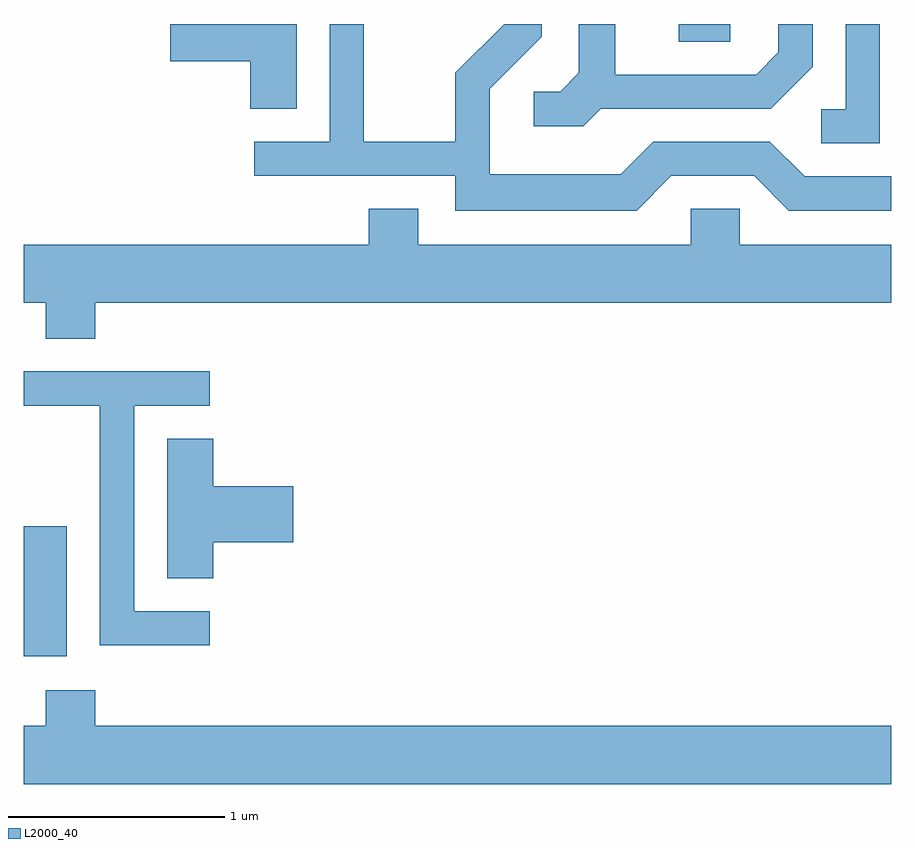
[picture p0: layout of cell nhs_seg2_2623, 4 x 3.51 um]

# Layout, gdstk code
import gdstk
lib = gdstk.Library(unit=1e-6, precision=1e-09)
def R(c, l, rs):  # rectangles x0, y0, x1, y1
    for r in rs: c.add(gdstk.rectangle(r[:2], r[2:], *l))
def P(c, l, *ps):  # polygons
    for p in ps: c.add(gdstk.Polygon(p, *l))
L2000_40 = (2000, 40)

nhs_seg2_2623 = lib.new_cell('nhs_seg2_2623')
R(nhs_seg2_2623, L2000_40, [(261.611,1068.886,261.809,1069.484), (264.631,1071.721,264.869,1071.802)])
P(nhs_seg2_2623, L2000_40, [(264.597,1071.101),(264.979,1071.101),(265.139,1070.941),(265.611,1070.941),(265.611,1071.099),(265.212,1071.099),(265.052,1071.259),(264.514,1071.259),(264.364,1071.109),(263.759,1071.109),(263.759,1071.504),(263.999,1071.744),(263.999,1071.802),(263.826,1071.802),(263.601,1071.577),(263.601,1071.259),(263.179,1071.259),(263.179,1071.802),(263.021,1071.802),(263.021,1071.259),(262.673,1071.259),(262.673,1071.101),(263.601,1071.101),(263.601,1070.941),(264.437,1070.941)],
  [(265.559,1071.802),(265.401,1071.802),(265.401,1071.409),(265.288,1071.409),(265.288,1071.251),(265.559,1071.251)],
  [(262.869,1071.802),(262.286,1071.802),(262.286,1071.631),(262.656,1071.631),(262.656,1071.411),(262.869,1071.411)],
  [(264.272,1071.411),(265.057,1071.411),(265.249,1071.604),(265.249,1071.802),(265.091,1071.802),(265.091,1071.672),(264.989,1071.569),(264.339,1071.569),(264.339,1071.802),(264.171,1071.802),(264.171,1071.577),(264.084,1071.489),(263.963,1071.489),(263.963,1071.331),(264.192,1071.331)],
  [(261.939,1070.516),(265.611,1070.516),(265.611,1070.784),(264.914,1070.784),(264.914,1070.949),(264.686,1070.949),(264.686,1070.784),(263.429,1070.784),(263.429,1070.949),(263.201,1070.949),(263.201,1070.784),(261.611,1070.784),(261.611,1070.516),(261.711,1070.516),(261.711,1070.351),(261.939,1070.351)],
  [(262.468,1069.094),(262.119,1069.094),(262.119,1070.041),(262.468,1070.041),(262.468,1070.199),(261.611,1070.199),(261.611,1070.041),(261.961,1070.041),(261.961,1068.936),(262.468,1068.936)],
  [(262.484,1069.411),(262.854,1069.411),(262.854,1069.669),(262.484,1069.669),(262.484,1069.889),(262.271,1069.889),(262.271,1069.246),(262.484,1069.246)],
  [(265.611,1068.564),(261.939,1068.564),(261.939,1068.729),(261.711,1068.729),(261.711,1068.564),(261.611,1068.564),(261.611,1068.296),(265.611,1068.296)])

lib.write_gds('nhs_seg2_2623.gds')
